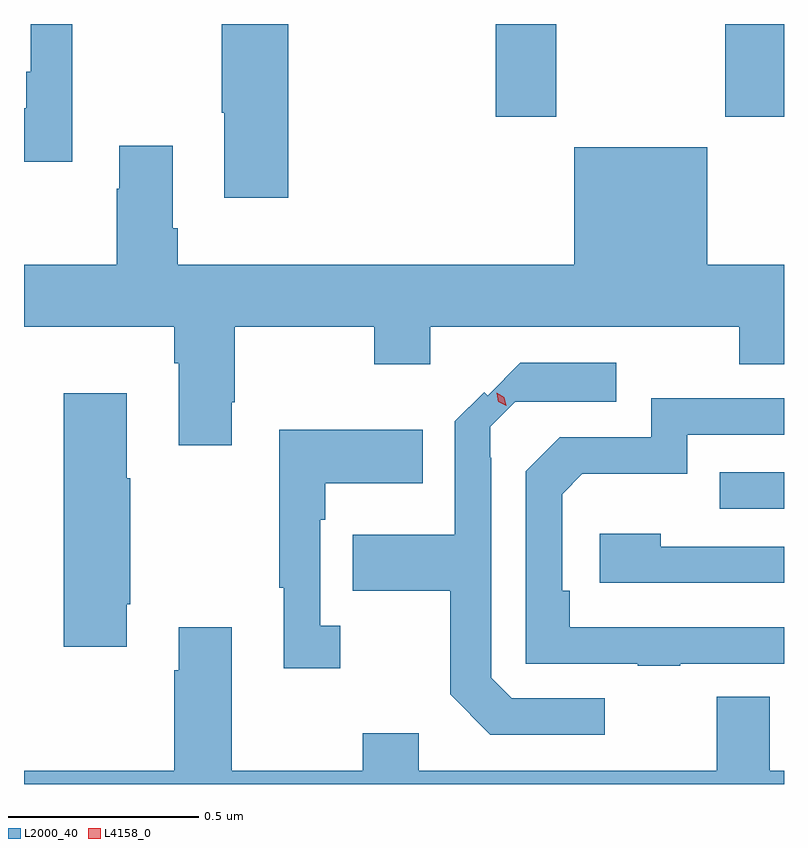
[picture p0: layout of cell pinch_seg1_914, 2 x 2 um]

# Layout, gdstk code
import gdstk
lib = gdstk.Library(unit=1e-6, precision=1e-09)
def R(c, l, rs):  # rectangles x0, y0, x1, y1
    for r in rs: c.add(gdstk.rectangle(r[:2], r[2:], *l))
def P(c, l, *ps):  # polygons
    for p in ps: c.add(gdstk.Polygon(p, *l))
L2000_40 = (2000, 40)
L4158_0 = (4158, 0)

pinch_seg1_914 = lib.new_cell('pinch_seg1_914')
R(pinch_seg1_914, L2000_40, [(615.961,504.633,616.13,504.729), (615.371,505.665,615.531,505.909), (615.976,505.665,616.13,505.909)])
P(pinch_seg1_914, L2000_40, [(614.257,505.909),(614.148,505.909),(614.148,505.783),(614.136,505.783),(614.136,505.687),(614.13,505.687),(614.13,505.547),(614.257,505.547)],
  [(614.825,505.909),(614.65,505.909),(614.65,505.675),(614.657,505.675),(614.657,505.452),(614.825,505.452)],
  [(614.525,505.016),(614.537,505.016),(614.537,504.801),(614.677,504.801),(614.677,504.913),(614.685,504.913),(614.685,505.112),(615.052,505.112),(615.052,505.013),(615.199,505.013),(615.199,505.112),(616.012,505.112),(616.012,505.013),(616.13,505.013),(616.13,505.276),(615.928,505.276),(615.928,505.585),(615.578,505.585),(615.578,505.276),(614.534,505.276),(614.534,505.372),(614.521,505.372),(614.521,505.588),(614.381,505.588),(614.381,505.475),(614.374,505.475),(614.374,505.276),(614.13,505.276),(614.13,505.112),(614.525,505.112)],
  [(615.658,504.135),(615.414,504.135),(615.36,504.189),(615.36,504.767),(615.357,504.767),(615.357,504.849),(615.423,504.915),(615.688,504.915),(615.688,505.017),(615.436,505.017),(615.35,504.931),(615.341,504.94),(615.264,504.863),(615.264,504.565),(614.995,504.565),(614.995,504.418),(615.252,504.418),(615.252,504.145),(615.357,504.039),(615.658,504.039)],
  [(614.401,504.382),(614.409,504.382),(614.409,504.713),(614.401,504.713),(614.401,504.937),(614.234,504.937),(614.234,504.27),(614.401,504.27)],
  [(615.857,504.225),(616.13,504.225),(616.13,504.321),(615.566,504.321),(615.566,504.418),(615.546,504.418),(615.546,504.672),(615.599,504.725),(615.876,504.725),(615.876,504.828),(616.13,504.828),(616.13,504.924),(615.78,504.924),(615.78,504.822),(615.54,504.822),(615.45,504.732),(615.45,504.225),(615.745,504.225),(615.745,504.22),(615.857,504.22)],
  [(614.962,504.326),(614.91,504.326),(614.91,504.605),(614.923,504.605),(614.923,504.701),(615.179,504.701),(615.179,504.841),(614.802,504.841),(614.802,504.425),(614.813,504.425),(614.813,504.213),(614.962,504.213)],
  [(616.13,504.534),(615.806,504.534),(615.806,504.568),(615.645,504.568),(615.645,504.438),(616.13,504.438)],
  [(616.13,503.944),(616.093,503.944),(616.093,504.139),(615.953,504.139),(615.953,503.944),(615.169,503.944),(615.169,504.043),(615.022,504.043),(615.022,503.944),(614.677,503.944),(614.677,504.322),(614.537,504.322),(614.537,504.209),(614.525,504.209),(614.525,503.944),(614.13,503.944),(614.13,503.909),(616.13,503.909)])
P(pinch_seg1_914, L4158_0, [(615.399,504.904),(615.378,504.915),(615.374,504.937),(615.374,504.938),(615.374,504.938),(615.394,504.927),(615.399,504.904),(615.399,504.904)])

lib.write_gds('pinch_seg1_914.gds')
